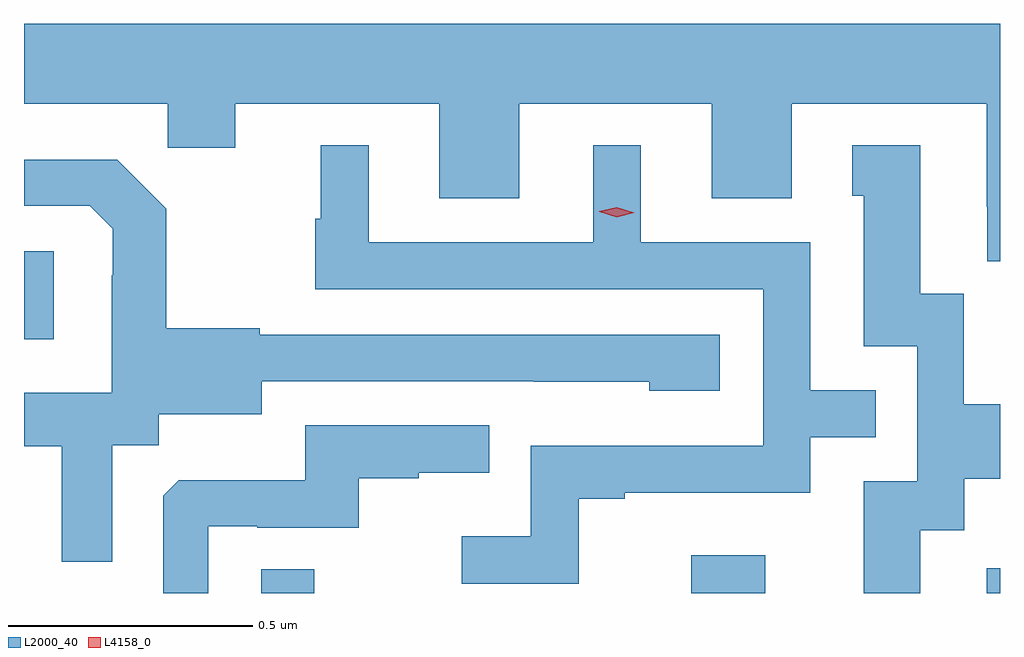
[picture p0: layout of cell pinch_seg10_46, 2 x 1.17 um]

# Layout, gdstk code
import gdstk
lib = gdstk.Library(unit=1e-6, precision=1e-09)
def R(c, l, rs):  # rectangles x0, y0, x1, y1
    for r in rs: c.add(gdstk.rectangle(r[:2], r[2:], *l))
def P(c, l, *ps):  # polygons
    for p in ps: c.add(gdstk.Polygon(p, *l))
L2000_40 = (2000, 40)
L4158_0 = (4158, 0)

pinch_seg10_46 = lib.new_cell('pinch_seg10_46')
R(pinch_seg10_46, L2000_40, [(887.676,1299.313,887.785,1299.362), (888.557,1299.313,888.709,1299.391), (889.163,1299.313,889.19,1299.364), (887.19,1299.834,887.251,1300.014)])
P(pinch_seg10_46, L2000_40, [(889.19,1300.48),(887.19,1300.48),(887.19,1300.316),(887.485,1300.316),(887.485,1300.226),(887.623,1300.226),(887.623,1300.316),(888.041,1300.316),(888.041,1300.122),(888.205,1300.122),(888.205,1300.316),(888.599,1300.316),(888.599,1300.122),(888.763,1300.122),(888.763,1300.316),(889.163,1300.316),(889.163,1300.105),(889.164,1300.105),(889.164,1299.993),(889.19,1299.993)],
  [(889.027,1299.442),(889.117,1299.442),(889.117,1299.548),(889.19,1299.548),(889.19,1299.7),(889.116,1299.7),(889.116,1299.927),(889.027,1299.927),(889.027,1300.231),(888.887,1300.231),(888.887,1300.128),(888.911,1300.128),(888.911,1299.819),(889.02,1299.819),(889.02,1299.543),(888.911,1299.543),(888.911,1299.313),(889.027,1299.313)],
  [(888.327,1299.507),(888.421,1299.507),(888.421,1299.519),(888.801,1299.519),(888.801,1299.633),(888.935,1299.633),(888.935,1299.729),(888.801,1299.729),(888.801,1300.032),(888.454,1300.032),(888.454,1300.231),(888.356,1300.231),(888.356,1300.032),(887.896,1300.032),(887.896,1300.231),(887.798,1300.231),(887.798,1300.08),(887.787,1300.08),(887.787,1299.936),(888.705,1299.936),(888.705,1299.615),(888.228,1299.615),(888.228,1299.43),(888.087,1299.43),(888.087,1299.332),(888.327,1299.332)],
  [(887.371,1299.616),(887.466,1299.616),(887.466,1299.68),(887.677,1299.68),(887.677,1299.747),(888.235,1299.747),(888.235,1299.746),(888.471,1299.746),(888.471,1299.728),(888.616,1299.728),(888.616,1299.843),(887.673,1299.843),(887.673,1299.856),(887.481,1299.856),(887.481,1300.101),(887.381,1300.201),(887.19,1300.201),(887.19,1300.107),(887.325,1300.107),(887.372,1300.06),(887.372,1299.965),(887.37,1299.965),(887.37,1299.724),(887.19,1299.724),(887.19,1299.614),(887.267,1299.614),(887.267,1299.378),(887.371,1299.378)],
  [(887.568,1299.45),(887.668,1299.45),(887.668,1299.447),(887.876,1299.447),(887.876,1299.549),(887.999,1299.549),(887.999,1299.56),(888.143,1299.56),(888.143,1299.657),(887.766,1299.657),(887.766,1299.545),(887.507,1299.545),(887.475,1299.513),(887.475,1299.313),(887.568,1299.313)])
P(pinch_seg10_46, L4158_0, [(888.405,1300.084),(888.369,1300.095),(888.369,1300.095),(888.369,1300.096),(888.405,1300.104),(888.44,1300.093),(888.441,1300.093),(888.44,1300.093)])

lib.write_gds('pinch_seg10_46.gds')
